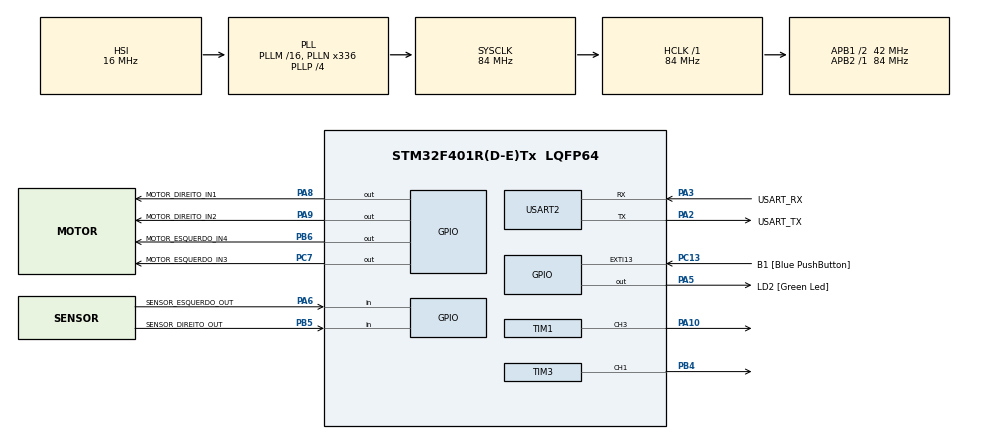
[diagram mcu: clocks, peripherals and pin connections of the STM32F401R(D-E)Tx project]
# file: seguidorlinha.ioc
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Mcu.Family=STM32F4
Mcu.Name=STM32F401R(D-E)Tx
Mcu.Package=LQFP64
NVIC.PriorityGroup=NVIC_PRIORITYGROUP_4
PA10.Signal=S_TIM1_CH3
PA13.GPIO_Label=TMS
PA13.Mode=Trace_Asynchronous_SW
PA13.Signal=SYS_JTMS-SWDIO
PA14.GPIO_Label=TCK
PA14.Mode=Trace_Asynchronous_SW
PA14.Signal=SYS_JTCK-SWCLK
PA2.GPIO_Label=USART_TX
PA2.GPIO_Mode=GPIO_MODE_AF_PP
PA2.GPIO_PuPd=GPIO_NOPULL
PA2.GPIO_Speed=GPIO_SPEED_FREQ_LOW
PA2.Mode=Asynchronous
PA2.Signal=USART2_TX
PA3.GPIO_Label=USART_RX
PA3.GPIO_Mode=GPIO_MODE_AF_PP
PA3.GPIO_PuPd=GPIO_NOPULL
PA3.GPIO_Speed=GPIO_SPEED_FREQ_LOW
PA3.Mode=Asynchronous
PA3.Signal=USART2_RX
PA5.GPIO_Label=LD2 [Green Led]
PA5.GPIO_Mode=GPIO_MODE_OUTPUT_PP
PA5.GPIO_PuPd=GPIO_NOPULL
PA5.GPIO_Speed=GPIO_SPEED_FREQ_LOW
PA5.Signal=GPIO_Output
PA6.GPIO_Label=SENSOR_ESQUERDO_OUT
PA6.Signal=GPIO_Input
PA8.GPIO_Label=MOTOR_DIREITO_IN1
PA8.Signal=GPIO_Output
PA9.GPIO_Label=MOTOR_DIREITO_IN2
PA9.Signal=GPIO_Output
PB3.GPIO_Label=SWO
PB3.Mode=Trace_Asynchronous_SW
PB3.Signal=SYS_JTDO-SWO
PB4.Signal=S_TIM3_CH1
PB5.GPIO_Label=SENSOR_DIREITO_OUT
PB5.Signal=GPIO_Input
PB6.GPIO_Label=MOTOR_ESQUERDO_IN4
PB6.Signal=GPIO_Output
PC13-ANTI_TAMP.GPIO_Label=B1 [Blue PushButton]
PC13-ANTI_TAMP.GPIO_ModeDefaultEXTI=GPIO_MODE_IT_FALLING
PC13-ANTI_TAMP.GPIO_PuPd=GPIO_NOPULL
PC13-ANTI_TAMP.Signal=GPXTI13
PC14-OSC32_IN.Mode=LSE-External-Oscillator
PC14-OSC32_IN.Signal=RCC_OSC32_IN
PC15-OSC32_OUT.Mode=LSE-External-Oscillator
PC15-OSC32_OUT.Signal=RCC_OSC32_OUT
PC7.GPIO_Label=MOTOR_ESQUERDO_IN3
PC7.Signal=GPIO_Output
PH0\ -\ OSC_IN.Mode=HSE-External-Clock-Source
PH0\ -\ OSC_IN.Signal=RCC_OSC_IN
PH1\ -\ OSC_OUT.Mode=HSE-External-Clock-Source
PH1\ -\ OSC_OUT.Signal=RCC_OSC_OUT
ProjectManager.HeapSize=0x200
ProjectManager.StackSize=0x400
ProjectManager.TargetToolchain=STM32CubeIDE
RCC.48MHZClocksFreq_Value=48000000
RCC.AHBFreq_Value=84000000
RCC.APB1CLKDivider=RCC_HCLK_DIV2
RCC.APB1Freq_Value=42000000
RCC.APB1TimFreq_Value=84000000
RCC.APB2Freq_Value=84000000
RCC.APB2TimFreq_Value=84000000
RCC.CortexFreq_Value=84000000
RCC.HCLKFreq_Value=84000000
RCC.HSE_VALUE=8000000
RCC.HSI_VALUE=16000000
RCC.PLLN=336
RCC.PLLP=RCC_PLLP_DIV4
RCC.PLLQ=7
RCC.SYSCLKFreq_VALUE=84000000
RCC.SYSCLKSource=RCC_SYSCLKSOURCE_PLLCLK
RCC.VCOOutputFreq_Value=336000000
SH.S_TIM1_CH3.0=TIM1_CH3,PWM Generation3 CH3
SH.S_TIM3_CH1.0=TIM3_CH1,PWM Generation1 CH1
TIM1.Channel-PWM\ Generation3\ CH3=TIM_CHANNEL_3
TIM1.Period=254
TIM1.Prescaler=32
TIM3.Channel-PWM\ Generation1\ CH1=TIM_CHANNEL_1
TIM3.Period=254
TIM3.Prescaler=32
USART2.VirtualMode=VM_ASYNC
VP_TIM3_VS_ClockSourceINT.Mode=Internal
board=NUCLEO-F401RE

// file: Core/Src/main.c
/* USER CODE BEGIN Header */
/**
  ******************************************************************************
  * @file           : main.c
  * @brief          : Main program body
  ******************************************************************************
  * @attention
  *
  * Copyright (c) 2025 STMicroelectronics.
  * All rights reserved.
  *
  * This software is licensed under terms that can be found in the LICENSE file
  * in the root directory of this software component.
  * If no LICENSE file comes with this software, it is provided AS-IS.
  *
  ******************************************************************************
  */
/* USER CODE END Header */
#include "main.h"

/* USER CODE BEGIN Includes */
#include <stdbool.h>
#include <stdlib.h>
/* USER CODE END Includes */

/* USER CODE BEGIN PD */
#define DEBOUNCE_TIME 200 // Tempo de espera para o botão em milissegundos
/* USER CODE END PD */

TIM_HandleTypeDef htim1;
TIM_HandleTypeDef htim3;

UART_HandleTypeDef huart2;

/* USER CODE BEGIN PV */
bool is_running = false; // O robô começa no estado "parado"
uint32_t last_button_time = 0; // Variável para o debounce do botão
/* USER CODE END PV */

void SystemClock_Config(void);
static void MX_GPIO_Init(void);
static void MX_USART2_UART_Init(void);
static void MX_TIM1_Init(void);
static void MX_TIM3_Init(void);
/* USER CODE BEGIN PFP */
void rotateMotor(int rightMotorSpeed, int leftMotorSpeed);
/* USER CODE END PFP */

/* USER CODE BEGIN 0 */
#define MOTOR_SPEED 65
/* USER CODE END 0 */

int main(void)
{

  /* MCU Configuration--------------------------------------------------------*/

  /* Reset of all peripherals, Initializes the Flash interface and the Systick. */
  HAL_Init();

  /* Configure the system clock */
  SystemClock_Config();

  /* Initialize all configured peripherals */
  MX_GPIO_Init();
  MX_USART2_UART_Init();
  MX_TIM1_Init();
  MX_TIM3_Init();
  /* USER CODE BEGIN 2 */
  // Inicia os canais de PWM para os motores
  HAL_TIM_PWM_Start(&htim1, TIM_CHANNEL_3);
  HAL_TIM_PWM_Start(&htim3, TIM_CHANNEL_1);
  /* USER CODE END 2 */

  /* Infinite loop */
  while (1)
  {

    /* USER CODE BEGIN 3 */

    // --- Lógica do Botão Start/Stop com Debounce ---
    if (HAL_GPIO_ReadPin(B1_GPIO_Port, B1_Pin) == GPIO_PIN_RESET)
    {
      if ((HAL_GetTick() - last_button_time) > DEBOUNCE_TIME)
      {
        is_running = !is_running; // Inverte o estado de rodando/parado
        last_button_time = HAL_GetTick(); // Atualiza o tempo do último clique
      }
    }

    // --- Lógica Principal do Robô ---
    if (is_running)
    {
      // A lógica de seguir a linha (que já sabemos que funciona) é executada aqui
      GPIO_PinState rightIRSensorValue = HAL_GPIO_ReadPin(SENSOR_DIREITO_OUT_GPIO_Port, SENSOR_DIREITO_OUT_Pin);
      GPIO_PinState leftIRSensorValue  = HAL_GPIO_ReadPin(SENSOR_ESQUERDO_OUT_GPIO_Port, SENSOR_ESQUERDO_OUT_Pin);

      // LÓGICA CORRETA BASEADA NOS TESTES: PRETO = SET, BRANCO = RESET

      // Caso 1: Robô alinhado (ambos os sensores no branco)
      if (rightIRSensorValue == GPIO_PIN_RESET && leftIRSensorValue == GPIO_PIN_RESET)
      {
        // Ação: Andar para frente
        rotateMotor(MOTOR_SPEED, MOTOR_SPEED);
      }
      // Caso 2: Robô desviou para a esquerda (sensor DIREITO na linha preta)
      else if (rightIRSensorValue == GPIO_PIN_SET && leftIRSensorValue == GPIO_PIN_RESET)
      {
        // Ação: Corrigir virando para a DIREITA
        rotateMotor(-MOTOR_SPEED, MOTOR_SPEED);
      }
      // Caso 3: Robô desviou para a direita (sensor ESQUERDO na linha preta)
      else if (rightIRSensorValue == GPIO_PIN_RESET && leftIRSensorValue == GPIO_PIN_SET)
      {
        // Ação: Corrigir virando para a ESQUERDA
        rotateMotor(MOTOR_SPEED, -MOTOR_SPEED);
      }
      // Caso 4: Situação inesperada (ambos no preto, etc.)
      else
      {

        rotateMotor(MOTOR_SPEED, MOTOR_SPEED);
      }
    }
    else
    {
      // Se o robô está no estado "parado", garante que os motores fiquem parados.
      rotateMotor(0, 0);
    }

  /* USER CODE END 3 */
  }
}

void SystemClock_Config(void)
{
  RCC_OscInitTypeDef RCC_OscInitStruct = {0};
  RCC_ClkInitTypeDef RCC_ClkInitStruct = {0};

  /** Configure the main internal regulator output voltage
  */
  __HAL_RCC_PWR_CLK_ENABLE();
  __HAL_PWR_VOLTAGESCALING_CONFIG(PWR_REGULATOR_VOLTAGE_SCALE2);

  /** Initializes the RCC Oscillators according to the specified parameters
  * in the RCC_OscInitTypeDef structure.
  */
  RCC_OscInitStruct.OscillatorType = RCC_OSCILLATORTYPE_HSI;
  RCC_OscInitStruct.HSIState = RCC_HSI_ON;
  RCC_OscInitStruct.HSICalibrationValue = RCC_HSICALIBRATION_DEFAULT;
  RCC_OscInitStruct.PLL.PLLState = RCC_PLL_ON;
  RCC_OscInitStruct.PLL.PLLSource = RCC_PLLSOURCE_HSI;
  RCC_OscInitStruct.PLL.PLLM = 16;
  RCC_OscInitStruct.PLL.PLLN = 336;
  RCC_OscInitStruct.PLL.PLLP = RCC_PLLP_DIV4;
  RCC_OscInitStruct.PLL.PLLQ = 7;
  if (HAL_RCC_OscConfig(&RCC_OscInitStruct) != HAL_OK)
  {
    Error_Handler();
  }

  /** Initializes the CPU, AHB and APB buses clocks
  */
  RCC_ClkInitStruct.ClockType = RCC_CLOCKTYPE_HCLK|RCC_CLOCKTYPE_SYSCLK
                              |RCC_CLOCKTYPE_PCLK1|RCC_CLOCKTYPE_PCLK2;
  RCC_ClkInitStruct.SYSCLKSource = RCC_SYSCLKSOURCE_PLLCLK;
  RCC_ClkInitStruct.AHBCLKDivider = RCC_SYSCLK_DIV1;
  RCC_ClkInitStruct.APB1CLKDivider = RCC_HCLK_DIV2;
  RCC_ClkInitStruct.APB2CLKDivider = RCC_HCLK_DIV1;

  if (HAL_RCC_ClockConfig(&RCC_ClkInitStruct, FLASH_LATENCY_2) != HAL_OK)
  {
    Error_Handler();
  }
}

static void MX_TIM1_Init(void)
{

  TIM_MasterConfigTypeDef sMasterConfig = {0};
  TIM_OC_InitTypeDef sConfigOC = {0};
  TIM_BreakDeadTimeConfigTypeDef sBreakDeadTimeConfig = {0};

  htim1.Instance = TIM1;
  htim1.Init.Prescaler = 32;
  htim1.Init.CounterMode = TIM_COUNTERMODE_UP;
  htim1.Init.Period = 254;
  htim1.Init.ClockDivision = TIM_CLOCKDIVISION_DIV1;
  htim1.Init.RepetitionCounter = 0;
  htim1.Init.AutoReloadPreload = TIM_AUTORELOAD_PRELOAD_DISABLE;
  if (HAL_TIM_PWM_Init(&htim1) != HAL_OK)
  {
    Error_Handler();
  }
  sMasterConfig.MasterOutputTrigger = TIM_TRGO_RESET;
  sMasterConfig.MasterSlaveMode = TIM_MASTERSLAVEMODE_DISABLE;
  if (HAL_TIMEx_MasterConfigSynchronization(&htim1, &sMasterConfig) != HAL_OK)
  {
    Error_Handler();
  }
  sConfigOC.OCMode = TIM_OCMODE_PWM1;
  sConfigOC.Pulse = 0;
  sConfigOC.OCPolarity = TIM_OCPOLARITY_HIGH;
  sConfigOC.OCNPolarity = TIM_OCNPOLARITY_HIGH;
  sConfigOC.OCFastMode = TIM_OCFAST_DISABLE;
  sConfigOC.OCIdleState = TIM_OCIDLESTATE_RESET;
  sConfigOC.OCNIdleState = TIM_OCNIDLESTATE_RESET;
  if (HAL_TIM_PWM_ConfigChannel(&htim1, &sConfigOC, TIM_CHANNEL_3) != HAL_OK)
  {
    Error_Handler();
  }
  sBreakDeadTimeConfig.OffStateRunMode = TIM_OSSR_DISABLE;
  sBreakDeadTimeConfig.OffStateIDLEMode = TIM_OSSI_DISABLE;
  sBreakDeadTimeConfig.LockLevel = TIM_LOCKLEVEL_OFF;
  sBreakDeadTimeConfig.DeadTime = 0;
  sBreakDeadTimeConfig.BreakState = TIM_BREAK_DISABLE;
  sBreakDeadTimeConfig.BreakPolarity = TIM_BREAKPOLARITY_HIGH;
  sBreakDeadTimeConfig.AutomaticOutput = TIM_AUTOMATICOUTPUT_DISABLE;
  if (HAL_TIMEx_ConfigBreakDeadTime(&htim1, &sBreakDeadTimeConfig) != HAL_OK)
  {
    Error_Handler();
  }
  HAL_TIM_MspPostInit(&htim1);

}

static void MX_TIM3_Init(void)
{

  TIM_ClockConfigTypeDef sClockSourceConfig = {0};
  TIM_MasterConfigTypeDef sMasterConfig = {0};
  TIM_OC_InitTypeDef sConfigOC = {0};

  htim3.Instance = TIM3;
  htim3.Init.Prescaler = 32;
  htim3.Init.CounterMode = TIM_COUNTERMODE_UP;
  htim3.Init.Period = 254;
  htim3.Init.ClockDivision = TIM_CLOCKDIVISION_DIV1;
  htim3.Init.AutoReloadPreload = TIM_AUTORELOAD_PRELOAD_DISABLE;
  if (HAL_TIM_Base_Init(&htim3) != HAL_OK)
  {
    Error_Handler();
  }
  sClockSourceConfig.ClockSource = TIM_CLOCKSOURCE_INTERNAL;
  if (HAL_TIM_ConfigClockSource(&htim3, &sClockSourceConfig) != HAL_OK)
  {
    Error_Handler();
  }
  if (HAL_TIM_PWM_Init(&htim3) != HAL_OK)
  {
    Error_Handler();
  }
  sMasterConfig.MasterOutputTrigger = TIM_TRGO_RESET;
  sMasterConfig.MasterSlaveMode = TIM_MASTERSLAVEMODE_DISABLE;
  if (HAL_TIMEx_MasterConfigSynchronization(&htim3, &sMasterConfig) != HAL_OK)
  {
    Error_Handler();
  }
  sConfigOC.OCMode = TIM_OCMODE_PWM1;
  sConfigOC.Pulse = 0;
  sConfigOC.OCPolarity = TIM_OCPOLARITY_HIGH;
  sConfigOC.OCFastMode = TIM_OCFAST_DISABLE;
  if (HAL_TIM_PWM_ConfigChannel(&htim3, &sConfigOC, TIM_CHANNEL_1) != HAL_OK)
  {
    Error_Handler();
  }
  HAL_TIM_MspPostInit(&htim3);

}

static void MX_USART2_UART_Init(void)
{

  huart2.Instance = USART2;
  huart2.Init.BaudRate = 115200;
  huart2.Init.WordLength = UART_WORDLENGTH_8B;
  huart2.Init.StopBits = UART_STOPBITS_1;
  huart2.Init.Parity = UART_PARITY_NONE;
  huart2.Init.Mode = UART_MODE_TX_RX;
  huart2.Init.HwFlowCtl = UART_HWCONTROL_NONE;
  huart2.Init.OverSampling = UART_OVERSAMPLING_16;
  if (HAL_UART_Init(&huart2) != HAL_OK)
  {
    Error_Handler();
  }

}

static void MX_GPIO_Init(void)
{
  GPIO_InitTypeDef GPIO_InitStruct = {0};

  /* GPIO Ports Clock Enable */
  __HAL_RCC_GPIOC_CLK_ENABLE();
  __HAL_RCC_GPIOH_CLK_ENABLE();
  __HAL_RCC_GPIOA_CLK_ENABLE();
  __HAL_RCC_GPIOB_CLK_ENABLE();

  /*Configure GPIO pin Output Level */
  HAL_GPIO_WritePin(GPIOA, LD2_Pin|MOTOR_DIREITO_IN1_Pin|MOTOR_DIREITO_IN2_Pin, GPIO_PIN_RESET);

  /*Configure GPIO pin Output Level */
  HAL_GPIO_WritePin(MOTOR_ESQUERDO_IN3_GPIO_Port, MOTOR_ESQUERDO_IN3_Pin, GPIO_PIN_RESET);

  /*Configure GPIO pin Output Level */
  HAL_GPIO_WritePin(MOTOR_ESQUERDO_IN4_GPIO_Port, MOTOR_ESQUERDO_IN4_Pin, GPIO_PIN_RESET);

  /*Configure GPIO pin : B1_Pin */
  GPIO_InitStruct.Pin = B1_Pin;
  GPIO_InitStruct.Mode = GPIO_MODE_IT_FALLING;
  GPIO_InitStruct.Pull = GPIO_NOPULL;
  HAL_GPIO_Init(B1_GPIO_Port, &GPIO_InitStruct);

  /*Configure GPIO pins : LD2_Pin MOTOR_DIREITO_IN1_Pin MOTOR_DIREITO_IN2_Pin */
  GPIO_InitStruct.Pin = LD2_Pin|MOTOR_DIREITO_IN1_Pin|MOTOR_DIREITO_IN2_Pin;
  GPIO_InitStruct.Mode = GPIO_MODE_OUTPUT_PP;
  GPIO_InitStruct.Pull = GPIO_NOPULL;
  GPIO_InitStruct.Speed = GPIO_SPEED_FREQ_LOW;
  HAL_GPIO_Init(GPIOA, &GPIO_InitStruct);

  /*Configure GPIO pin : SENSOR_ESQUERDO_OUT_Pin */
  GPIO_InitStruct.Pin = SENSOR_ESQUERDO_OUT_Pin;
  GPIO_InitStruct.Mode = GPIO_MODE_INPUT;
  GPIO_InitStruct.Pull = GPIO_NOPULL;
  HAL_GPIO_Init(SENSOR_ESQUERDO_OUT_GPIO_Port, &GPIO_InitStruct);

  /*Configure GPIO pin : MOTOR_ESQUERDO_IN3_Pin */
  GPIO_InitStruct.Pin = MOTOR_ESQUERDO_IN3_Pin;
  GPIO_InitStruct.Mode = GPIO_MODE_OUTPUT_PP;
  GPIO_InitStruct.Pull = GPIO_NOPULL;
  GPIO_InitStruct.Speed = GPIO_SPEED_FREQ_LOW;
  HAL_GPIO_Init(MOTOR_ESQUERDO_IN3_GPIO_Port, &GPIO_InitStruct);

  /*Configure GPIO pin : SENSOR_DIREITO_OUT_Pin */
  GPIO_InitStruct.Pin = SENSOR_DIREITO_OUT_Pin;
  GPIO_InitStruct.Mode = GPIO_MODE_INPUT;
  GPIO_InitStruct.Pull = GPIO_NOPULL;
  HAL_GPIO_Init(SENSOR_DIREITO_OUT_GPIO_Port, &GPIO_InitStruct);

  /*Configure GPIO pin : MOTOR_ESQUERDO_IN4_Pin */
  GPIO_InitStruct.Pin = MOTOR_ESQUERDO_IN4_Pin;
  GPIO_InitStruct.Mode = GPIO_MODE_OUTPUT_PP;
  GPIO_InitStruct.Pull = GPIO_NOPULL;
  GPIO_InitStruct.Speed = GPIO_SPEED_FREQ_LOW;
  HAL_GPIO_Init(MOTOR_ESQUERDO_IN4_GPIO_Port, &GPIO_InitStruct);

}

/* USER CODE BEGIN 4 */
void rotateMotor(int rightMotorSpeed, int leftMotorSpeed)
{
  // --- Controle do Motor Direito ---
  if (rightMotorSpeed < 0) { // Para trás
    HAL_GPIO_WritePin(MOTOR_DIREITO_IN1_GPIO_Port, MOTOR_DIREITO_IN1_Pin, GPIO_PIN_RESET);
    HAL_GPIO_WritePin(MOTOR_DIREITO_IN2_GPIO_Port, MOTOR_DIREITO_IN2_Pin, GPIO_PIN_SET);
  } else if (rightMotorSpeed > 0) { // Para frente
    HAL_GPIO_WritePin(MOTOR_DIREITO_IN1_GPIO_Port, MOTOR_DIREITO_IN1_Pin, GPIO_PIN_SET);
    HAL_GPIO_WritePin(MOTOR_DIREITO_IN2_GPIO_Port, MOTOR_DIREITO_IN2_Pin, GPIO_PIN_RESET);
  } else { // Parado
    HAL_GPIO_WritePin(MOTOR_DIREITO_IN1_GPIO_Port, MOTOR_DIREITO_IN1_Pin, GPIO_PIN_RESET);
    HAL_GPIO_WritePin(MOTOR_DIREITO_IN2_GPIO_Port, MOTOR_DIREITO_IN2_Pin, GPIO_PIN_RESET);
  }

  // --- Controle do Motor Esquerdo ---
  if (leftMotorSpeed < 0) { // Para trás
    HAL_GPIO_WritePin(MOTOR_ESQUERDO_IN3_GPIO_Port, MOTOR_ESQUERDO_IN3_Pin, GPIO_PIN_RESET);
    HAL_GPIO_WritePin(MOTOR_ESQUERDO_IN4_GPIO_Port, MOTOR_ESQUERDO_IN4_Pin, GPIO_PIN_SET);
  } else if (leftMotorSpeed > 0) { // Para frente
    HAL_GPIO_WritePin(MOTOR_ESQUERDO_IN3_GPIO_Port, MOTOR_ESQUERDO_IN3_Pin, GPIO_PIN_SET);
    HAL_GPIO_WritePin(MOTOR_ESQUERDO_IN4_GPIO_Port, MOTOR_ESQUERDO_IN4_Pin, GPIO_PIN_RESET);
  } else { // Parado
    HAL_GPIO_WritePin(MOTOR_ESQUERDO_IN3_GPIO_Port, MOTOR_ESQUERDO_IN3_Pin, GPIO_PIN_RESET);
    HAL_GPIO_WritePin(MOTOR_ESQUERDO_IN4_GPIO_Port, MOTOR_ESQUERDO_IN4_Pin, GPIO_PIN_RESET);
  }

  // Define a velocidade (valor do PWM)
  __HAL_TIM_SET_COMPARE(&htim1, TIM_CHANNEL_3, abs(rightMotorSpeed));
  __HAL_TIM_SET_COMPARE(&htim3, TIM_CHANNEL_1, abs(leftMotorSpeed));
}
/* USER CODE END 4 */

void Error_Handler(void)
{
  __disable_irq();
  while (1)
  {
  }
}
